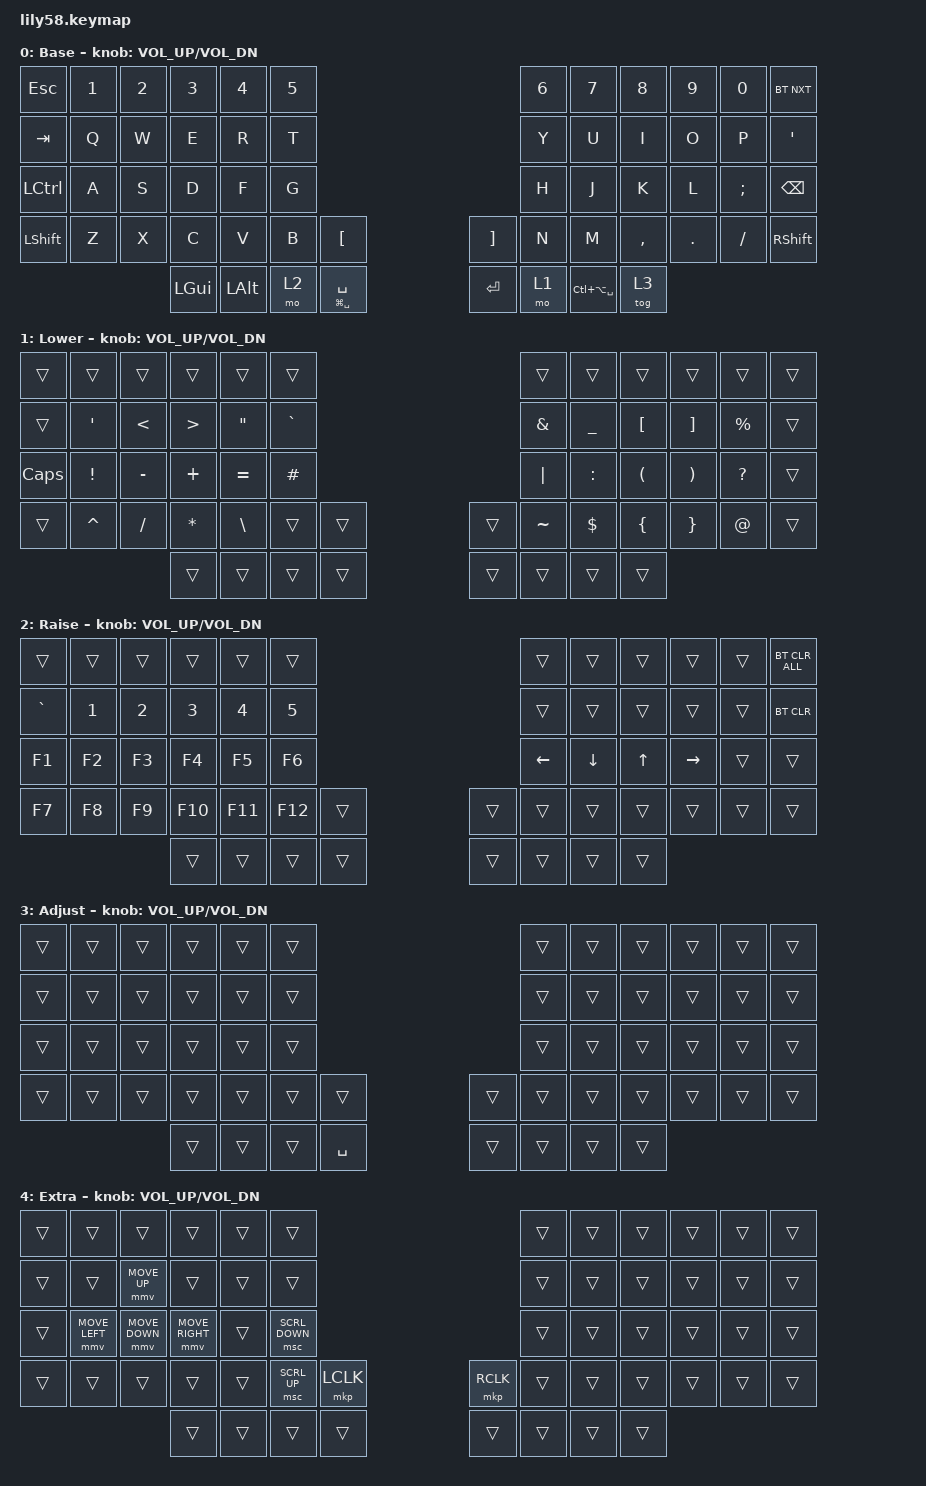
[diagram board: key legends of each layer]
/*
 * Copyright (c) 2020 The ZMK Contributors
 *
 * SPDX-License-Identifier: MIT
 */

#include <behaviors.dtsi>
#include <dt-bindings/zmk/bt.h>
#include <dt-bindings/zmk/keys.h>
#include <dt-bindings/zmk/pointing.h>

#define default_layer 0
#define lower_layer 1
#define raise_layer 2
#define adjust_layer 3
#define extra_layer 4

/ {
    behaviors {
        space_behavior: space_behavior {
            compatible = "zmk,behavior-hold-tap";
            label = "SPACE_BEHAVIOR";
            bindings = <&kp>, <&kp>;

            #binding-cells = <2>;
            tapping-term-ms = <250>;
            flavor = "tap-preferred";
        };
    };

    keymap {
        compatible = "zmk,keymap";

        default_layer {
            display-name = "Base";

            // ------------------------------------------------------------------------------------------------------------
            // |  ESC  |  1  |  2  |  3   |  4   |  5   |                   |  6   |  7    |  8    |  9   |   0   |   `   |
            // |  TAB  |  Q  |  W  |  E   |  R   |  T   |                   |  Y   |  U    |  I    |  O   |   P   |   -   |
            // |  CTRL |  A  |  S  |  D   |  F   |  G   |                   |  H   |  J    |  K    |  L   |   ;   |   '   |
            // | SHIFT |  Z  |  X  |  C   |  V   |  B   |   "["  |  |  "]"  |  N   |  M    |  ,    |  .   |   /   | SHIFT |
            //                     | ALT  | GUI  | LOWER|  SPACE |  | ENTER | RAISE| BSPC  | GUI   |

            bindings = <
&kp ESC    &kp N1  &kp N2  &kp N3    &kp N4    &kp N5                                               &kp N6  &kp N7             &kp N8     &kp N9   &kp N0    &bt BT_NXT
&kp TAB    &kp Q   &kp W   &kp E     &kp R     &kp T                                                &kp Y   &kp U              &kp I      &kp O    &kp P     &kp SINGLE_QUOTE
&kp LCTRL  &kp A   &kp S   &kp D     &kp F     &kp G                                                &kp H   &kp J              &kp K      &kp L    &kp SEMI  &kp BACKSPACE
&kp LSHFT  &kp Z   &kp X   &kp C     &kp V     &kp B   &kp LBKT                           &kp RBKT  &kp N   &kp M              &kp COMMA  &kp DOT  &kp FSLH  &kp RSHFT
                           &kp LGUI  &kp LALT  &mo 2   &space_behavior LG(SPACE) SPACE    &kp RET   &mo 1   &kp LC(LA(SPACE))  &tog 3
            >;

            sensor-bindings = <&inc_dec_kp C_VOL_UP C_VOL_DN>;
        };

        lower_layer {
            display-name = "Lower";

            // ------------------------------------------------------------------------------------------------------------
            // | BTCLR | BT1 | BT2 |  BT3 |  BT4 |  BT5 |                   |      |       |       |      |       |       |
            // |  F1   |  F2 |  F3 |  F4  |  F5  |  F6  |                   |  F7  |  F8   |  F9   |  F10 |  F11  |  F12  |
            // |   `   |  !  |  @  |  #   |  $   |  %   |                   |  ^   |  &    |  *    |  (   |   )   |   ~   |
            // |       |     |     |      |      |      |        |  |       |      |  _    |  +    |  {   |   }   |  "|"  |
            //                     |      |      |      |        |  |       |      |       |       |

            bindings = <
&trans    &trans            &trans         &trans            &trans             &trans                       &trans     &trans      &trans                &trans                 &trans        &trans
&trans    &kp SINGLE_QUOTE  &kp LESS_THAN  &kp GREATER_THAN  &kp DOUBLE_QUOTES  &kp GRAVE                    &kp AMPS   &kp UNDER   &kp LEFT_BRACKET      &kp RIGHT_BRACKET      &kp PERCENT   &trans
&kp CLCK  &kp EXCL          &kp MINUS      &kp PLUS          &kp EQUAL          &kp POUND                    &kp PIPE   &kp COLON   &kp LEFT_PARENTHESIS  &kp RIGHT_PARENTHESIS  &kp QUESTION  &trans
&trans    &kp CARET         &kp SLASH      &kp STAR          &kp BACKSLASH      &trans     &trans    &trans  &kp TILDE  &kp DOLLAR  &kp LEFT_BRACE        &kp RIGHT_BRACE        &kp AT        &trans
                                           &trans            &trans             &trans     &trans    &trans  &trans     &trans      &trans
            >;

            sensor-bindings = <&inc_dec_kp C_VOL_UP C_VOL_DN>;
        };

        raise_layer {
            display-name = "Raise";

            // ------------------------------------------------------------------------------------------------------------
            // |       |     |     |      |      |      |                   |      |       |       |      |       |       |
            // |   `   |  1  |  2  |  3   |  4   |  5   |                   |  6   |   7   |   8   |  9   |   0   |       |
            // |   F1  |  F2 |  F3 |  F4  |  F5  |  F6  |                   |      |   <-  |   v   |  ^   |  ->   |       |
            // |   F7  |  F8 |  F9 |  F10 |  F11 |  F12 |        |  |       |  +   |   -   |   =   |  [   |   ]   |   \   |
            //                     |      |      |      |        |  |       |      |       |       |

            bindings = <
&trans     &trans  &trans  &trans   &trans   &trans                     &trans          &trans    &trans        &trans     &trans  &bt BT_CLR_ALL
&kp GRAVE  &kp N1  &kp N2  &kp N3   &kp N4   &kp N5                     &trans          &trans    &trans        &trans     &trans  &bt BT_CLR
&kp F1     &kp F2  &kp F3  &kp F4   &kp F5   &kp F6                     &kp LEFT_ARROW  &kp DOWN  &kp UP_ARROW  &kp RIGHT  &trans  &trans
&kp F7     &kp F8  &kp F9  &kp F10  &kp F11  &kp F12  &trans    &trans  &trans          &trans    &trans        &trans     &trans  &trans
                           &trans   &trans   &trans   &trans    &trans  &trans          &trans    &trans
            >;

            sensor-bindings = <&inc_dec_kp C_VOL_UP C_VOL_DN>;
        };

        adjust_layer {
            display-name = "Adjust";

            // ------------------------------------------------------------------------------------------------------------
            // |       |     |     |      |      |      |                   |      |       |       |      |       |       |
            // |   `   |  1  |  2  |  3   |  4   |  5   |                   |  6   |   7   |   8   |  9   |   0   |       |
            // |   F1  |  F2 |  F3 |  F4  |  F5  |  F6  |                   |      |   <-  |   v   |  ^   |  ->   |       |
            // |   F7  |  F8 |  F9 |  F10 |  F11 |  F12 |        |  |       |  +   |   -   |   =   |  [   |   ]   |   \   |
            //                     |      |      |      |        |  |       |      |       |       |

            bindings = <
&trans  &trans  &trans  &trans  &trans  &trans                       &trans  &trans  &trans  &trans  &trans  &trans
&trans  &trans  &trans  &trans  &trans  &trans                       &trans  &trans  &trans  &trans  &trans  &trans
&trans  &trans  &trans  &trans  &trans  &trans                       &trans  &trans  &trans  &trans  &trans  &trans
&trans  &trans  &trans  &trans  &trans  &trans  &trans       &trans  &trans  &trans  &trans  &trans  &trans  &trans
                        &trans  &trans  &trans  &kp SPACE    &trans  &trans  &trans  &trans
            >;

            sensor-bindings = <&inc_dec_kp C_VOL_UP C_VOL_DN>;
        };

        extra_layer {
            display-name = "Extra";

            // ------------------------------------------------------------------------------------------------------------
            // |       |     |     |      |      |      |                   |      |       |       |      |       |       |
            // |   `   |  1  |  2  |  3   |  4   |  5   |                   |  6   |   7   |   8   |  9   |   0   |       |
            // |   F1  |  F2 |  F3 |  F4  |  F5  |  F6  |                   |      |   <-  |   v   |  ^   |  ->   |       |
            // |   F7  |  F8 |  F9 |  F10 |  F11 |  F12 |        |  |       |  +   |   -   |   =   |  [   |   ]   |   \   |
            //                     |      |      |      |        |  |       |      |       |       |

            bindings = <
&trans  &trans          &trans          &trans           &trans  &trans                                  &trans  &trans  &trans  &trans  &trans  &trans
&trans  &trans          &mmv MOVE_UP    &trans           &trans  &trans                                  &trans  &trans  &trans  &trans  &trans  &trans
&trans  &mmv MOVE_LEFT  &mmv MOVE_DOWN  &mmv MOVE_RIGHT  &trans  &msc SCRL_DOWN                          &trans  &trans  &trans  &trans  &trans  &trans
&trans  &trans          &trans          &trans           &trans  &msc SCRL_UP    &mkp LCLK    &mkp RCLK  &trans  &trans  &trans  &trans  &trans  &trans
                                        &trans           &trans  &trans          &trans       &trans     &trans  &trans  &trans
            >;

            sensor-bindings = <&inc_dec_kp C_VOL_UP C_VOL_DN>;
        };
    };
};
